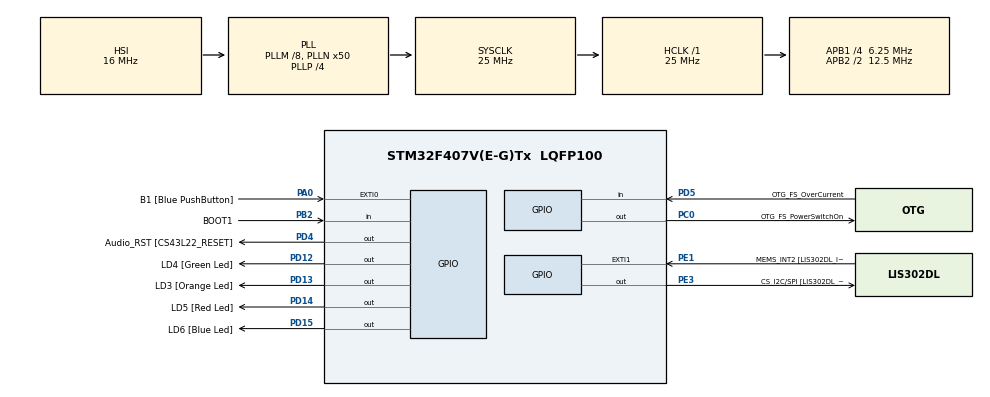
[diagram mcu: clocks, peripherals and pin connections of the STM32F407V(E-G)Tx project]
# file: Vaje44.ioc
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Mcu.Family=STM32F4
Mcu.Name=STM32F407V(E-G)Tx
Mcu.Package=LQFP100
NVIC.PriorityGroup=NVIC_PRIORITYGROUP_0
PA0-WKUP.GPIO_Label=B1 [Blue PushButton]
PA0-WKUP.Signal=GPXTI0
PA10.GPIO_Label=OTG_FS_ID
PA10.GPIO_Mode=GPIO_MODE_AF_PP
PA10.GPIO_PuPd=GPIO_NOPULL
PA10.GPIO_Speed=GPIO_SPEED_FREQ_LOW
PA10.Signal=USB_OTG_FS_ID
PA11.GPIO_Label=OTG_FS_DM
PA11.GPIO_Mode=GPIO_MODE_AF_PP
PA11.GPIO_PuPd=GPIO_NOPULL
PA11.GPIO_Speed=GPIO_SPEED_FREQ_LOW
PA11.Signal=USB_OTG_FS_DM
PA12.GPIO_Label=OTG_FS_DP
PA12.GPIO_Mode=GPIO_MODE_AF_PP
PA12.GPIO_PuPd=GPIO_NOPULL
PA12.GPIO_Speed=GPIO_SPEED_FREQ_LOW
PA12.Signal=USB_OTG_FS_DP
PA13.GPIO_Label=SWDIO
PA13.Signal=SYS_JTMS-SWDIO
PA14.GPIO_Label=SWCLK
PA14.Signal=SYS_JTCK-SWCLK
PA4.GPIO_Label=I2S3_WS [CS43L22_LRCK]
PA4.GPIO_Mode=GPIO_MODE_AF_PP
PA4.GPIO_PuPd=GPIO_NOPULL
PA4.GPIO_Speed=GPIO_SPEED_FREQ_LOW
PA4.Signal=I2S3_WS
PA5.GPIO_Label=SPI1_SCK [LIS302DL_SCL/SPC]
PA5.GPIO_Mode=GPIO_MODE_AF_PP
PA5.GPIO_PuPd=GPIO_NOPULL
PA5.GPIO_Speed=GPIO_SPEED_FREQ_LOW
PA5.Signal=SPI1_SCK
PA6.GPIO_Label=SPI1_MISO [LIS302DL_SDO]
PA6.GPIO_Mode=GPIO_MODE_AF_PP
PA6.GPIO_PuPd=GPIO_NOPULL
PA6.GPIO_Speed=GPIO_SPEED_FREQ_LOW
PA6.Signal=SPI1_MISO
PA7.GPIO_Label=SPI1_MOSI [LIS302DL_SDA/SDI/SDO]
PA7.GPIO_Mode=GPIO_MODE_AF_PP
PA7.GPIO_PuPd=GPIO_NOPULL
PA7.GPIO_Speed=GPIO_SPEED_FREQ_LOW
PA7.Signal=SPI1_MOSI
PA9.GPIO_Label=VBUS_FS
PA9.GPIO_Mode=GPIO_MODE_INPUT
PA9.GPIO_PuPd=GPIO_NOPULL
PA9.Signal=USB_OTG_FS_VBUS
PB10.GPIO_Label=CLK_IN [MP45DT02_CLK]
PB10.GPIO_Mode=GPIO_MODE_AF_PP
PB10.GPIO_PuPd=GPIO_NOPULL
PB10.GPIO_Speed=GPIO_SPEED_FREQ_LOW
PB10.Signal=I2S2_CK
PB2.GPIO_Label=BOOT1
PB2.GPIO_Mode=GPIO_MODE_INPUT
PB2.GPIO_PuPd=GPIO_NOPULL
PB2.Signal=GPIO_Input
PB3.GPIO_Label=SWO
PB3.Signal=SYS_JTDO-SWO
PB6.GPIO_Label=Audio_SCL [CS43L22_SCL]
PB6.GPIO_Mode=GPIO_MODE_AF_OD
PB6.GPIO_PuPd=GPIO_NOPULL
PB6.GPIO_Speed=GPIO_SPEED_FREQ_LOW
PB6.Signal=I2C1_SCL
PB9.GPIO_Label=Audio_SDA [CS43L22_SDA]
PB9.GPIO_Mode=GPIO_MODE_AF_OD
PB9.GPIO_PuPd=GPIO_NOPULL
PB9.GPIO_Speed=GPIO_SPEED_FREQ_LOW
PB9.Signal=I2C1_SDA
PC0.GPIO_Label=OTG_FS_PowerSwitchOn
PC0.GPIO_PuPd=GPIO_NOPULL
PC0.GPIO_Speed=GPIO_SPEED_FREQ_LOW
PC0.PinState=GPIO_PIN_SET
PC0.Signal=GPIO_Output
PC10.GPIO_Label=I2S3_SCK [CS43L22_SCLK]
PC10.GPIO_Mode=GPIO_MODE_AF_PP
PC10.GPIO_PuPd=GPIO_NOPULL
PC10.GPIO_Speed=GPIO_SPEED_FREQ_LOW
PC10.Signal=I2S3_CK
PC12.GPIO_Label=I2S3_SD [CS43L22_SDIN]
PC12.GPIO_Mode=GPIO_MODE_AF_PP
PC12.GPIO_PuPd=GPIO_NOPULL
PC12.GPIO_Speed=GPIO_SPEED_FREQ_LOW
PC12.Signal=I2S3_SD
PC14-OSC32_IN.GPIO_Label=PC14-OSC32_IN
PC14-OSC32_IN.Signal=RCC_OSC32_IN
PC15-OSC32_OUT.GPIO_Label=PC15-OSC32_OUT
PC15-OSC32_OUT.Signal=RCC_OSC32_OUT
PC3.GPIO_Label=PDM_OUT [MP45DT02_DOUT]
PC3.GPIO_Mode=GPIO_MODE_AF_PP
PC3.GPIO_PuPd=GPIO_NOPULL
PC3.GPIO_Speed=GPIO_SPEED_FREQ_LOW
PC3.Signal=I2S2_SD
PC7.GPIO_Label=I2S3_MCK [CS43L22_MCLK]
PC7.GPIO_Mode=GPIO_MODE_AF_PP
PC7.GPIO_PuPd=GPIO_NOPULL
PC7.GPIO_Speed=GPIO_SPEED_FREQ_LOW
PC7.Signal=I2S3_MCK
PD12.GPIO_Label=LD4 [Green Led]
PD12.GPIO_PuPd=GPIO_NOPULL
PD12.GPIO_Speed=GPIO_SPEED_FREQ_LOW
PD12.Signal=GPIO_Output
PD13.GPIO_Label=LD3 [Orange Led]
PD13.GPIO_PuPd=GPIO_NOPULL
PD13.GPIO_Speed=GPIO_SPEED_FREQ_LOW
PD13.Signal=GPIO_Output
PD14.GPIO_Label=LD5 [Red Led]
PD14.GPIO_PuPd=GPIO_NOPULL
PD14.GPIO_Speed=GPIO_SPEED_FREQ_LOW
PD14.Signal=GPIO_Output
PD15.GPIO_Label=LD6 [Blue Led]
PD15.GPIO_PuPd=GPIO_NOPULL
PD15.GPIO_Speed=GPIO_SPEED_FREQ_LOW
PD15.Signal=GPIO_Output
PD4.GPIO_Label=Audio_RST [CS43L22_RESET]
PD4.GPIO_PuPd=GPIO_NOPULL
PD4.GPIO_Speed=GPIO_SPEED_FREQ_LOW
PD4.Signal=GPIO_Output
PD5.GPIO_Label=OTG_FS_OverCurrent
PD5.GPIO_Mode=GPIO_MODE_INPUT
PD5.GPIO_PuPd=GPIO_NOPULL
PD5.Signal=GPIO_Input
PE1.GPIO_Label=MEMS_INT2 [LIS302DL_INT2]
PE1.GPIO_ModeDefaultEXTI=GPIO_MODE_EVT_RISING
PE1.GPIO_PuPd=GPIO_NOPULL
PE1.Signal=GPXTI1
PE3.GPIO_Label=CS_I2C/SPI [LIS302DL_CS_I2C/SPI]
PE3.GPIO_PuPd=GPIO_NOPULL
PE3.GPIO_Speed=GPIO_SPEED_FREQ_LOW
PE3.Signal=GPIO_Output
PH0-OSC_IN.GPIO_Label=PH0-OSC_IN
PH0-OSC_IN.Signal=RCC_OSC_IN
PH1-OSC_OUT.GPIO_Label=PH1-OSC_OUT
PH1-OSC_OUT.Signal=RCC_OSC_OUT
ProjectManager.HeapSize=0x200
ProjectManager.StackSize=0x400
ProjectManager.TargetToolchain=STM32CubeIDE
RCC.48MHZClocksFreq_Value=14285714.285714285
RCC.AHBFreq_Value=25000000
RCC.APB1CLKDivider=RCC_HCLK_DIV4
RCC.APB1Freq_Value=6250000
RCC.APB1TimFreq_Value=12500000
RCC.APB2CLKDivider=RCC_HCLK_DIV2
RCC.APB2Freq_Value=12500000
RCC.APB2TimFreq_Value=25000000
RCC.CortexFreq_Value=25000000
RCC.HCLKFreq_Value=25000000
RCC.HSE_VALUE=8000000
RCC.HSI_VALUE=16000000
RCC.LSE_VALUE=32768
RCC.PLLM=8
RCC.PLLN=50
RCC.PLLP=RCC_PLLP_DIV4
RCC.PLLQ=7
RCC.SYSCLKFreq_VALUE=25000000
RCC.SYSCLKSource=RCC_SYSCLKSOURCE_PLLCLK
RCC.VCOOutputFreq_Value=100000000
board=STM32F407G-DISC1

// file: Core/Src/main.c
/* USER CODE BEGIN Header */
/**
  ******************************************************************************
  * @file           : main.c
  * @brief          : Main program body
  ******************************************************************************
  * @attention
  *
  * <h2><center>&copy; Copyright (c) 2020 STMicroelectronics.
  * All rights reserved.</center></h2>
  *
  * This software component is licensed by ST under BSD 3-Clause license,
  * the "License"; You may not use this file except in compliance with the
  * License. You may obtain a copy of the License at:
  *                        opensource.org/licenses/BSD-3-Clause
  *
  ******************************************************************************
  */
/* USER CODE END Header */
#include "main.h"

void SystemClock_Config(void);
static void MX_GPIO_Init(void);

int main(void)
{

  /* MCU Configuration--------------------------------------------------------*/

  /* Reset of all peripherals, Initializes the Flash interface and the Systick. */
  HAL_Init();

  /* Configure the system clock */
  SystemClock_Config();

  /* Initialize all configured peripherals */
  MX_GPIO_Init();
  /* USER CODE BEGIN 2 */

  __HAL_RCC_GPIOA_CLK_ENABLE();
  __HAL_RCC_GPIOD_CLK_ENABLE();

  GPIO_InitTypeDef button;
  button.Pin = GPIO_PIN_0;
  button.Mode = GPIO_MODE_INPUT;
  button.Pull = GPIO_NOPULL;
  button.Speed = GPIO_SPEED_FREQ_LOW;

  HAL_GPIO_Init(GPIOA, &button);

  GPIO_InitTypeDef led;
  button.Pin = GPIO_PIN_12 | GPIO_PIN_13 | GPIO_PIN_14 | GPIO_PIN_15;
  button.Mode = GPIO_MODE_OUTPUT_PP;
  button.Pull = GPIO_NOPULL;
  button.Speed = GPIO_SPEED_FREQ_LOW;

  HAL_GPIO_Init(GPIOD, &led);
  /* USER CODE END 2 */

  /* Infinite loop */
  /* USER CODE BEGIN WHILE */
  uint8_t count = 0;
  while (1)
  {
    /* USER CODE END WHILE */
    /* USER CODE BEGIN 3 */

	if (HAL_GPIO_ReadPin(GPIOA, GPIO_PIN_0) == 1) {
		count++;
		HAL_Delay(200);
		if (HAL_GPIO_ReadPin(GPIOA, GPIO_PIN_0) == 1) {
			count = 0;
			HAL_Delay(1600);
	        HAL_GPIO_WritePin(GPIOD, GPIO_PIN_12, GPIO_PIN_RESET);
	        HAL_GPIO_WritePin(GPIOD, GPIO_PIN_13, GPIO_PIN_RESET);
	        HAL_GPIO_WritePin(GPIOD, GPIO_PIN_14, GPIO_PIN_RESET);
	        HAL_GPIO_WritePin(GPIOD, GPIO_PIN_15, GPIO_PIN_RESET);
	        HAL_Delay(500);
		}

		if((count & 1U) == 0) {
	        HAL_GPIO_WritePin(GPIOD, GPIO_PIN_12, GPIO_PIN_RESET);
		}

		if((count & 1U) == 1) {
			HAL_GPIO_WritePin(GPIOD, GPIO_PIN_12, GPIO_PIN_SET);
		}

		if(((count >> 1) & 1U) == 0) {
			HAL_GPIO_WritePin(GPIOD, GPIO_PIN_13, GPIO_PIN_RESET);
		}

		if(((count >> 1) & 1U) == 1) {
			HAL_GPIO_WritePin(GPIOD, GPIO_PIN_13, GPIO_PIN_SET);
		}

		if(((count >> 2) & 1U) == 0) {
			HAL_GPIO_WritePin(GPIOD, GPIO_PIN_14, GPIO_PIN_RESET);
		}

		if(((count >> 2) & 1U) == 1) {
			HAL_GPIO_WritePin(GPIOD, GPIO_PIN_14, GPIO_PIN_SET);
		}
		if(((count >> 3) & 1U) == 0) {
			HAL_GPIO_WritePin(GPIOD, GPIO_PIN_15, GPIO_PIN_RESET);
		}

		if(((count >> 3) & 1U) == 1) {
			HAL_GPIO_WritePin(GPIOD, GPIO_PIN_15, GPIO_PIN_SET);
		}
	}

  }
  /* USER CODE END 3 */
}

void SystemClock_Config(void)
{
  RCC_OscInitTypeDef RCC_OscInitStruct = {0};
  RCC_ClkInitTypeDef RCC_ClkInitStruct = {0};

  /** Configure the main internal regulator output voltage
  */
  __HAL_RCC_PWR_CLK_ENABLE();
  __HAL_PWR_VOLTAGESCALING_CONFIG(PWR_REGULATOR_VOLTAGE_SCALE1);
  /** Initializes the RCC Oscillators according to the specified parameters
  * in the RCC_OscInitTypeDef structure.
  */
  RCC_OscInitStruct.OscillatorType = RCC_OSCILLATORTYPE_HSI;
  RCC_OscInitStruct.HSIState = RCC_HSI_ON;
  RCC_OscInitStruct.HSICalibrationValue = RCC_HSICALIBRATION_DEFAULT;
  RCC_OscInitStruct.PLL.PLLState = RCC_PLL_ON;
  RCC_OscInitStruct.PLL.PLLSource = RCC_PLLSOURCE_HSI;
  RCC_OscInitStruct.PLL.PLLM = 8;
  RCC_OscInitStruct.PLL.PLLN = 50;
  RCC_OscInitStruct.PLL.PLLP = RCC_PLLP_DIV4;
  RCC_OscInitStruct.PLL.PLLQ = 7;
  if (HAL_RCC_OscConfig(&RCC_OscInitStruct) != HAL_OK)
  {
    Error_Handler();
  }
  /** Initializes the CPU, AHB and APB buses clocks
  */
  RCC_ClkInitStruct.ClockType = RCC_CLOCKTYPE_HCLK|RCC_CLOCKTYPE_SYSCLK
                              |RCC_CLOCKTYPE_PCLK1|RCC_CLOCKTYPE_PCLK2;
  RCC_ClkInitStruct.SYSCLKSource = RCC_SYSCLKSOURCE_PLLCLK;
  RCC_ClkInitStruct.AHBCLKDivider = RCC_SYSCLK_DIV1;
  RCC_ClkInitStruct.APB1CLKDivider = RCC_HCLK_DIV4;
  RCC_ClkInitStruct.APB2CLKDivider = RCC_HCLK_DIV2;

  if (HAL_RCC_ClockConfig(&RCC_ClkInitStruct, FLASH_LATENCY_0) != HAL_OK)
  {
    Error_Handler();
  }
}

static void MX_GPIO_Init(void)
{
  GPIO_InitTypeDef GPIO_InitStruct = {0};

  /* GPIO Ports Clock Enable */
  __HAL_RCC_GPIOE_CLK_ENABLE();
  __HAL_RCC_GPIOC_CLK_ENABLE();
  __HAL_RCC_GPIOH_CLK_ENABLE();
  __HAL_RCC_GPIOA_CLK_ENABLE();
  __HAL_RCC_GPIOB_CLK_ENABLE();
  __HAL_RCC_GPIOD_CLK_ENABLE();

  /*Configure GPIO pin Output Level */
  HAL_GPIO_WritePin(CS_I2C_SPI_GPIO_Port, CS_I2C_SPI_Pin, GPIO_PIN_RESET);

  /*Configure GPIO pin Output Level */
  HAL_GPIO_WritePin(OTG_FS_PowerSwitchOn_GPIO_Port, OTG_FS_PowerSwitchOn_Pin, GPIO_PIN_SET);

  /*Configure GPIO pin Output Level */
  HAL_GPIO_WritePin(GPIOD, LD4_Pin|LD3_Pin|LD5_Pin|LD6_Pin
                          |Audio_RST_Pin, GPIO_PIN_RESET);

  /*Configure GPIO pin : CS_I2C_SPI_Pin */
  GPIO_InitStruct.Pin = CS_I2C_SPI_Pin;
  GPIO_InitStruct.Mode = GPIO_MODE_OUTPUT_PP;
  GPIO_InitStruct.Pull = GPIO_NOPULL;
  GPIO_InitStruct.Speed = GPIO_SPEED_FREQ_LOW;
  HAL_GPIO_Init(CS_I2C_SPI_GPIO_Port, &GPIO_InitStruct);

  /*Configure GPIO pin : OTG_FS_PowerSwitchOn_Pin */
  GPIO_InitStruct.Pin = OTG_FS_PowerSwitchOn_Pin;
  GPIO_InitStruct.Mode = GPIO_MODE_OUTPUT_PP;
  GPIO_InitStruct.Pull = GPIO_NOPULL;
  GPIO_InitStruct.Speed = GPIO_SPEED_FREQ_LOW;
  HAL_GPIO_Init(OTG_FS_PowerSwitchOn_GPIO_Port, &GPIO_InitStruct);

  /*Configure GPIO pin : PDM_OUT_Pin */
  GPIO_InitStruct.Pin = PDM_OUT_Pin;
  GPIO_InitStruct.Mode = GPIO_MODE_AF_PP;
  GPIO_InitStruct.Pull = GPIO_NOPULL;
  GPIO_InitStruct.Speed = GPIO_SPEED_FREQ_LOW;
  GPIO_InitStruct.Alternate = GPIO_AF5_SPI2;
  HAL_GPIO_Init(PDM_OUT_GPIO_Port, &GPIO_InitStruct);

  /*Configure GPIO pin : B1_Pin */
  GPIO_InitStruct.Pin = B1_Pin;
  GPIO_InitStruct.Mode = GPIO_MODE_IT_RISING;
  GPIO_InitStruct.Pull = GPIO_NOPULL;
  HAL_GPIO_Init(B1_GPIO_Port, &GPIO_InitStruct);

  /*Configure GPIO pin : I2S3_WS_Pin */
  GPIO_InitStruct.Pin = I2S3_WS_Pin;
  GPIO_InitStruct.Mode = GPIO_MODE_AF_PP;
  GPIO_InitStruct.Pull = GPIO_NOPULL;
  GPIO_InitStruct.Speed = GPIO_SPEED_FREQ_LOW;
  GPIO_InitStruct.Alternate = GPIO_AF6_SPI3;
  HAL_GPIO_Init(I2S3_WS_GPIO_Port, &GPIO_InitStruct);

  /*Configure GPIO pins : SPI1_SCK_Pin SPI1_MISO_Pin SPI1_MOSI_Pin */
  GPIO_InitStruct.Pin = SPI1_SCK_Pin|SPI1_MISO_Pin|SPI1_MOSI_Pin;
  GPIO_InitStruct.Mode = GPIO_MODE_AF_PP;
  GPIO_InitStruct.Pull = GPIO_NOPULL;
  GPIO_InitStruct.Speed = GPIO_SPEED_FREQ_LOW;
  GPIO_InitStruct.Alternate = GPIO_AF5_SPI1;
  HAL_GPIO_Init(GPIOA, &GPIO_InitStruct);

  /*Configure GPIO pin : BOOT1_Pin */
  GPIO_InitStruct.Pin = BOOT1_Pin;
  GPIO_InitStruct.Mode = GPIO_MODE_INPUT;
  GPIO_InitStruct.Pull = GPIO_NOPULL;
  HAL_GPIO_Init(BOOT1_GPIO_Port, &GPIO_InitStruct);

  /*Configure GPIO pin : CLK_IN_Pin */
  GPIO_InitStruct.Pin = CLK_IN_Pin;
  GPIO_InitStruct.Mode = GPIO_MODE_AF_PP;
  GPIO_InitStruct.Pull = GPIO_NOPULL;
  GPIO_InitStruct.Speed = GPIO_SPEED_FREQ_LOW;
  GPIO_InitStruct.Alternate = GPIO_AF5_SPI2;
  HAL_GPIO_Init(CLK_IN_GPIO_Port, &GPIO_InitStruct);

  /*Configure GPIO pins : LD4_Pin LD3_Pin LD5_Pin LD6_Pin
                           Audio_RST_Pin */
  GPIO_InitStruct.Pin = LD4_Pin|LD3_Pin|LD5_Pin|LD6_Pin
                          |Audio_RST_Pin;
  GPIO_InitStruct.Mode = GPIO_MODE_OUTPUT_PP;
  GPIO_InitStruct.Pull = GPIO_NOPULL;
  GPIO_InitStruct.Speed = GPIO_SPEED_FREQ_LOW;
  HAL_GPIO_Init(GPIOD, &GPIO_InitStruct);

  /*Configure GPIO pins : I2S3_MCK_Pin I2S3_SCK_Pin I2S3_SD_Pin */
  GPIO_InitStruct.Pin = I2S3_MCK_Pin|I2S3_SCK_Pin|I2S3_SD_Pin;
  GPIO_InitStruct.Mode = GPIO_MODE_AF_PP;
  GPIO_InitStruct.Pull = GPIO_NOPULL;
  GPIO_InitStruct.Speed = GPIO_SPEED_FREQ_LOW;
  GPIO_InitStruct.Alternate = GPIO_AF6_SPI3;
  HAL_GPIO_Init(GPIOC, &GPIO_InitStruct);

  /*Configure GPIO pin : VBUS_FS_Pin */
  GPIO_InitStruct.Pin = VBUS_FS_Pin;
  GPIO_InitStruct.Mode = GPIO_MODE_INPUT;
  GPIO_InitStruct.Pull = GPIO_NOPULL;
  HAL_GPIO_Init(VBUS_FS_GPIO_Port, &GPIO_InitStruct);

  /*Configure GPIO pins : OTG_FS_ID_Pin OTG_FS_DM_Pin OTG_FS_DP_Pin */
  GPIO_InitStruct.Pin = OTG_FS_ID_Pin|OTG_FS_DM_Pin|OTG_FS_DP_Pin;
  GPIO_InitStruct.Mode = GPIO_MODE_AF_PP;
  GPIO_InitStruct.Pull = GPIO_NOPULL;
  GPIO_InitStruct.Speed = GPIO_SPEED_FREQ_LOW;
  GPIO_InitStruct.Alternate = GPIO_AF10_OTG_FS;
  HAL_GPIO_Init(GPIOA, &GPIO_InitStruct);

  /*Configure GPIO pin : OTG_FS_OverCurrent_Pin */
  GPIO_InitStruct.Pin = OTG_FS_OverCurrent_Pin;
  GPIO_InitStruct.Mode = GPIO_MODE_INPUT;
  GPIO_InitStruct.Pull = GPIO_NOPULL;
  HAL_GPIO_Init(OTG_FS_OverCurrent_GPIO_Port, &GPIO_InitStruct);

  /*Configure GPIO pins : Audio_SCL_Pin Audio_SDA_Pin */
  GPIO_InitStruct.Pin = Audio_SCL_Pin|Audio_SDA_Pin;
  GPIO_InitStruct.Mode = GPIO_MODE_AF_OD;
  GPIO_InitStruct.Pull = GPIO_PULLUP;
  GPIO_InitStruct.Speed = GPIO_SPEED_FREQ_LOW;
  GPIO_InitStruct.Alternate = GPIO_AF4_I2C1;
  HAL_GPIO_Init(GPIOB, &GPIO_InitStruct);

  /*Configure GPIO pin : MEMS_INT2_Pin */
  GPIO_InitStruct.Pin = MEMS_INT2_Pin;
  GPIO_InitStruct.Mode = GPIO_MODE_EVT_RISING;
  GPIO_InitStruct.Pull = GPIO_NOPULL;
  HAL_GPIO_Init(MEMS_INT2_GPIO_Port, &GPIO_InitStruct);

}

void Error_Handler(void)
{
}

/************************ (C) COPYRIGHT STMicroelectronics *****END OF FILE****/
